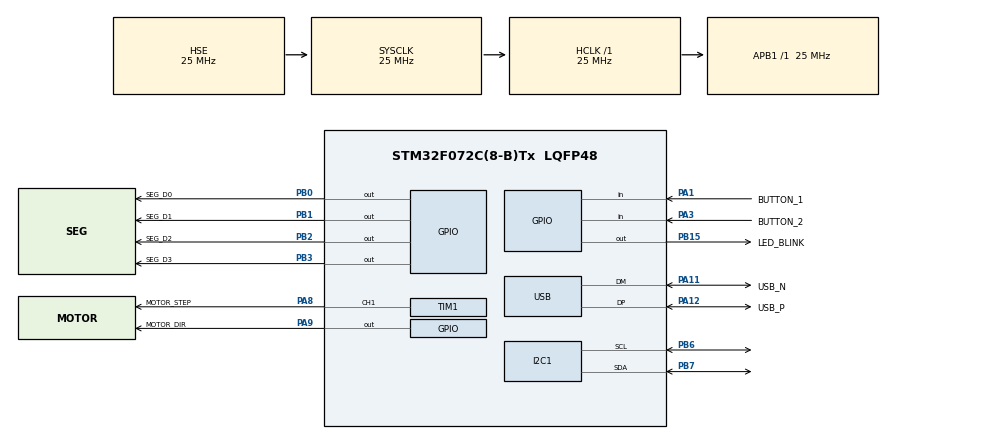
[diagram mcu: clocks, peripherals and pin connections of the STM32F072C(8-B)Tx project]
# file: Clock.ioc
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Dma.Request0=TIM1_CH1
Dma.TIM1_CH1.0.Direction=DMA_MEMORY_TO_PERIPH
Dma.TIM1_CH1.0.Instance=DMA1_Channel2
Dma.TIM1_CH1.0.MemDataAlignment=DMA_MDATAALIGN_HALFWORD
Dma.TIM1_CH1.0.MemInc=DMA_MINC_ENABLE
Dma.TIM1_CH1.0.Mode=DMA_NORMAL
Dma.TIM1_CH1.0.PeriphDataAlignment=DMA_PDATAALIGN_HALFWORD
Dma.TIM1_CH1.0.PeriphInc=DMA_PINC_DISABLE
Dma.TIM1_CH1.0.Priority=DMA_PRIORITY_LOW
Mcu.Family=STM32F0
Mcu.Name=STM32F072C(8-B)Tx
Mcu.Package=LQFP48
NVIC.DMA1_Channel2_3_IRQn=true\:0\:0\:false\:false\:true\:false\:true\:true
PA1.GPIO_Label=BUTTON_1
PA1.GPIO_PuPd=GPIO_PULLUP
PA1.Signal=GPIO_Input
PA11.GPIO_Label=USB_N
PA11.Mode=Device
PA11.Signal=USB_DM
PA12.GPIO_Label=USB_P
PA12.Mode=Device
PA12.Signal=USB_DP
PA13.Mode=Serial_Wire
PA13.Signal=SYS_SWDIO
PA14.Mode=Serial_Wire
PA14.Signal=SYS_SWCLK
PA3.GPIO_Label=BUTTON_2
PA3.GPIO_PuPd=GPIO_PULLUP
PA3.Signal=GPIO_Input
PA8.GPIO_Label=MOTOR_STEP
PA8.Signal=S_TIM1_CH1
PA9.GPIO_Label=MOTOR_DIR
PA9.Signal=GPIO_Output
PB0.GPIO_Label=SEG_D0
PB0.PinState=GPIO_PIN_SET
PB0.Signal=GPIO_Output
PB1.GPIO_Label=SEG_D1
PB1.PinState=GPIO_PIN_SET
PB1.Signal=GPIO_Output
PB15.GPIO_Label=LED_BLINK
PB15.GPIO_Speed=GPIO_SPEED_FREQ_MEDIUM
PB15.PinState=GPIO_PIN_SET
PB15.Signal=GPIO_Output
PB2.GPIO_Label=SEG_D2
PB2.PinState=GPIO_PIN_SET
PB2.Signal=GPIO_Output
PB3.GPIO_Label=SEG_D3
PB3.PinState=GPIO_PIN_SET
PB3.Signal=GPIO_Output
PB6.Mode=I2C
PB6.Signal=I2C1_SCL
PB7.Mode=I2C
PB7.Signal=I2C1_SDA
PF0-OSC_IN.Mode=HSE-External-Oscillator
PF0-OSC_IN.Signal=RCC_OSC_IN
PF1-OSC_OUT.Mode=HSE-External-Oscillator
PF1-OSC_OUT.Signal=RCC_OSC_OUT
ProjectManager.HeapSize=0x200
ProjectManager.StackSize=0x400
ProjectManager.TargetToolchain=STM32CubeIDE
RCC.AHBFreq_Value=25000000
RCC.APB1Freq_Value=25000000
RCC.APB1TimFreq_Value=25000000
RCC.HCLKFreq_Value=25000000
RCC.HSE_VALUE=25000000
RCC.PLLSourceVirtual=RCC_PLLSOURCE_HSE
RCC.SYSCLKFreq_VALUE=25000000
RCC.SYSCLKSource=RCC_SYSCLKSOURCE_HSE
SH.S_TIM1_CH1.0=TIM1_CH1,PWM Generation1 CH1
TIM1.Channel-PWM\ Generation1\ CH1=TIM_CHANNEL_1
TIM1.Period=100-1
TIM1.Prescaler=25-1
VP_TIM15_VS_ClockSourceINT.Mode=Internal
VP_TIM1_VS_ClockSourceINT.Mode=Internal
board=custom

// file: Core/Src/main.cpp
/* USER CODE BEGIN Header */
/**
  ******************************************************************************
  * @file           : main.c
  * @brief          : Main program body
  ******************************************************************************
  * @attention
  *
  * Copyright (c) 2023 STMicroelectronics.
  * All rights reserved.
  *
  * This software is licensed under terms that can be found in the LICENSE file
  * in the root directory of this software component.
  * If no LICENSE file comes with this software, it is provided AS-IS.
  *
  ******************************************************************************
  */
/* USER CODE END Header */
#include "main.h"

/* USER CODE BEGIN Includes */
#include "PCF85363A.h"
/* USER CODE END Includes */

I2C_HandleTypeDef hi2c1;

TIM_HandleTypeDef htim1;
TIM_HandleTypeDef htim15;
DMA_HandleTypeDef hdma_tim1_ch1;

PCD_HandleTypeDef hpcd_USB_FS;

void SystemClock_Config(void);
static void MX_GPIO_Init(void);
static void MX_DMA_Init(void);
static void MX_USB_PCD_Init(void);
static void MX_I2C1_Init(void);
static void MX_TIM15_Init(void);
static void MX_TIM1_Init(void);

/* USER CODE BEGIN 0 */
void writeSegmentNumber(int number){

	switch(number%10){
		case 0:
			HAL_GPIO_WritePin(GPIOB, SEG_D0_Pin, GPIO_PIN_RESET);
			HAL_GPIO_WritePin(GPIOB, SEG_D1_Pin, GPIO_PIN_RESET);
			HAL_GPIO_WritePin(GPIOB, SEG_D2_Pin, GPIO_PIN_RESET);
			HAL_GPIO_WritePin(GPIOB, SEG_D3_Pin, GPIO_PIN_RESET);
			break;
		case 1:
			HAL_GPIO_WritePin(GPIOB, SEG_D0_Pin, GPIO_PIN_SET);
			HAL_GPIO_WritePin(GPIOB, SEG_D1_Pin, GPIO_PIN_RESET);
			HAL_GPIO_WritePin(GPIOB, SEG_D2_Pin, GPIO_PIN_RESET);
			HAL_GPIO_WritePin(GPIOB, SEG_D3_Pin, GPIO_PIN_RESET);
			break;
		case 2:
			HAL_GPIO_WritePin(GPIOB, SEG_D0_Pin, GPIO_PIN_RESET);
			HAL_GPIO_WritePin(GPIOB, SEG_D1_Pin, GPIO_PIN_SET);
			HAL_GPIO_WritePin(GPIOB, SEG_D2_Pin, GPIO_PIN_RESET);
			HAL_GPIO_WritePin(GPIOB, SEG_D3_Pin, GPIO_PIN_RESET);
			break;
		case 3:
			HAL_GPIO_WritePin(GPIOB, SEG_D0_Pin, GPIO_PIN_SET);
			HAL_GPIO_WritePin(GPIOB, SEG_D1_Pin, GPIO_PIN_SET);
			HAL_GPIO_WritePin(GPIOB, SEG_D2_Pin, GPIO_PIN_RESET);
			HAL_GPIO_WritePin(GPIOB, SEG_D3_Pin, GPIO_PIN_RESET);
			break;
		case 4:
			HAL_GPIO_WritePin(GPIOB, SEG_D0_Pin, GPIO_PIN_RESET);
			HAL_GPIO_WritePin(GPIOB, SEG_D1_Pin, GPIO_PIN_RESET);
			HAL_GPIO_WritePin(GPIOB, SEG_D2_Pin, GPIO_PIN_SET);
			HAL_GPIO_WritePin(GPIOB, SEG_D3_Pin, GPIO_PIN_RESET);
			break;
		case 5:
			HAL_GPIO_WritePin(GPIOB, SEG_D0_Pin, GPIO_PIN_SET);
			HAL_GPIO_WritePin(GPIOB, SEG_D1_Pin, GPIO_PIN_RESET);
			HAL_GPIO_WritePin(GPIOB, SEG_D2_Pin, GPIO_PIN_SET);
			HAL_GPIO_WritePin(GPIOB, SEG_D3_Pin, GPIO_PIN_RESET);
			break;
		case 6:
			HAL_GPIO_WritePin(GPIOB, SEG_D0_Pin, GPIO_PIN_RESET);
			HAL_GPIO_WritePin(GPIOB, SEG_D1_Pin, GPIO_PIN_SET);
			HAL_GPIO_WritePin(GPIOB, SEG_D2_Pin, GPIO_PIN_SET);
			HAL_GPIO_WritePin(GPIOB, SEG_D3_Pin, GPIO_PIN_RESET);
			break;
		case 7:
			HAL_GPIO_WritePin(GPIOB, SEG_D0_Pin, GPIO_PIN_SET);
			HAL_GPIO_WritePin(GPIOB, SEG_D1_Pin, GPIO_PIN_SET);
			HAL_GPIO_WritePin(GPIOB, SEG_D2_Pin, GPIO_PIN_SET);
			HAL_GPIO_WritePin(GPIOB, SEG_D3_Pin, GPIO_PIN_RESET);
			break;
		case 8:
			HAL_GPIO_WritePin(GPIOB, SEG_D0_Pin, GPIO_PIN_RESET);
			HAL_GPIO_WritePin(GPIOB, SEG_D1_Pin, GPIO_PIN_RESET);
			HAL_GPIO_WritePin(GPIOB, SEG_D2_Pin, GPIO_PIN_RESET);
			HAL_GPIO_WritePin(GPIOB, SEG_D3_Pin, GPIO_PIN_SET);
			break;
		case 9:
			HAL_GPIO_WritePin(GPIOB, SEG_D0_Pin, GPIO_PIN_SET);
			HAL_GPIO_WritePin(GPIOB, SEG_D1_Pin, GPIO_PIN_RESET);
			HAL_GPIO_WritePin(GPIOB, SEG_D2_Pin, GPIO_PIN_RESET);
			HAL_GPIO_WritePin(GPIOB, SEG_D3_Pin, GPIO_PIN_SET);
			break;
		default:
			HAL_GPIO_WritePin(GPIOB, SEG_D0_Pin, GPIO_PIN_SET);
			HAL_GPIO_WritePin(GPIOB, SEG_D1_Pin, GPIO_PIN_SET);
			HAL_GPIO_WritePin(GPIOB, SEG_D2_Pin, GPIO_PIN_SET);
			HAL_GPIO_WritePin(GPIOB, SEG_D3_Pin, GPIO_PIN_SET);
			break;

	}

}

/* USER CODE END 0 */

int main(void)
{

  /* MCU Configuration--------------------------------------------------------*/

  /* Reset of all peripherals, Initializes the Flash interface and the Systick. */
  HAL_Init();

  /* Configure the system clock */
  SystemClock_Config();

  /* Initialize all configured peripherals */
  MX_GPIO_Init();
  MX_DMA_Init();
  MX_USB_PCD_Init();
  MX_I2C1_Init();
  MX_TIM15_Init();
  MX_TIM1_Init();

  /* Infinite loop */
  /* USER CODE BEGIN WHILE */

  PCF85363A myRTC(hi2c1);
  int seconds = 0;

  int num = 0;

  while (1)
  {

	  seconds = myRTC.GetSeconds();
	  HAL_GPIO_TogglePin(LED_BLINK_GPIO_Port, LED_BLINK_Pin);
	  writeSegmentNumber(seconds % 10);
	  num++;
	  HAL_Delay(50);

    /* USER CODE END WHILE */

  }
}

void SystemClock_Config(void)
{
  RCC_OscInitTypeDef RCC_OscInitStruct = {0};
  RCC_ClkInitTypeDef RCC_ClkInitStruct = {0};
  RCC_PeriphCLKInitTypeDef PeriphClkInit = {0};

  /** Initializes the RCC Oscillators according to the specified parameters
  * in the RCC_OscInitTypeDef structure.
  */
  RCC_OscInitStruct.OscillatorType = RCC_OSCILLATORTYPE_HSI|RCC_OSCILLATORTYPE_HSI48
                              |RCC_OSCILLATORTYPE_HSE;
  RCC_OscInitStruct.HSEState = RCC_HSE_ON;
  RCC_OscInitStruct.HSIState = RCC_HSI_ON;
  RCC_OscInitStruct.HSI48State = RCC_HSI48_ON;
  RCC_OscInitStruct.HSICalibrationValue = RCC_HSICALIBRATION_DEFAULT;
  RCC_OscInitStruct.PLL.PLLState = RCC_PLL_NONE;
  if (HAL_RCC_OscConfig(&RCC_OscInitStruct) != HAL_OK)
  {
    Error_Handler();
  }

  /** Initializes the CPU, AHB and APB buses clocks
  */
  RCC_ClkInitStruct.ClockType = RCC_CLOCKTYPE_HCLK|RCC_CLOCKTYPE_SYSCLK
                              |RCC_CLOCKTYPE_PCLK1;
  RCC_ClkInitStruct.SYSCLKSource = RCC_SYSCLKSOURCE_HSE;
  RCC_ClkInitStruct.AHBCLKDivider = RCC_SYSCLK_DIV1;
  RCC_ClkInitStruct.APB1CLKDivider = RCC_HCLK_DIV1;

  if (HAL_RCC_ClockConfig(&RCC_ClkInitStruct, FLASH_LATENCY_1) != HAL_OK)
  {
    Error_Handler();
  }
  PeriphClkInit.PeriphClockSelection = RCC_PERIPHCLK_USB|RCC_PERIPHCLK_I2C1;
  PeriphClkInit.I2c1ClockSelection = RCC_I2C1CLKSOURCE_HSI;
  PeriphClkInit.UsbClockSelection = RCC_USBCLKSOURCE_HSI48;

  if (HAL_RCCEx_PeriphCLKConfig(&PeriphClkInit) != HAL_OK)
  {
    Error_Handler();
  }
}

static void MX_I2C1_Init(void)
{

  hi2c1.Instance = I2C1;
  hi2c1.Init.Timing = 0x2000090E;
  hi2c1.Init.OwnAddress1 = 0;
  hi2c1.Init.AddressingMode = I2C_ADDRESSINGMODE_7BIT;
  hi2c1.Init.DualAddressMode = I2C_DUALADDRESS_DISABLE;
  hi2c1.Init.OwnAddress2 = 0;
  hi2c1.Init.OwnAddress2Masks = I2C_OA2_NOMASK;
  hi2c1.Init.GeneralCallMode = I2C_GENERALCALL_DISABLE;
  hi2c1.Init.NoStretchMode = I2C_NOSTRETCH_DISABLE;
  if (HAL_I2C_Init(&hi2c1) != HAL_OK)
  {
    Error_Handler();
  }

  /** Configure Analogue filter
  */
  if (HAL_I2CEx_ConfigAnalogFilter(&hi2c1, I2C_ANALOGFILTER_ENABLE) != HAL_OK)
  {
    Error_Handler();
  }

  /** Configure Digital filter
  */
  if (HAL_I2CEx_ConfigDigitalFilter(&hi2c1, 0) != HAL_OK)
  {
    Error_Handler();
  }

}

static void MX_TIM1_Init(void)
{

  TIM_ClockConfigTypeDef sClockSourceConfig = {0};
  TIM_MasterConfigTypeDef sMasterConfig = {0};
  TIM_OC_InitTypeDef sConfigOC = {0};
  TIM_BreakDeadTimeConfigTypeDef sBreakDeadTimeConfig = {0};

  htim1.Instance = TIM1;
  htim1.Init.Prescaler = 25-1;
  htim1.Init.CounterMode = TIM_COUNTERMODE_UP;
  htim1.Init.Period = 100-1;
  htim1.Init.ClockDivision = TIM_CLOCKDIVISION_DIV1;
  htim1.Init.RepetitionCounter = 0;
  htim1.Init.AutoReloadPreload = TIM_AUTORELOAD_PRELOAD_DISABLE;
  if (HAL_TIM_Base_Init(&htim1) != HAL_OK)
  {
    Error_Handler();
  }
  sClockSourceConfig.ClockSource = TIM_CLOCKSOURCE_INTERNAL;
  if (HAL_TIM_ConfigClockSource(&htim1, &sClockSourceConfig) != HAL_OK)
  {
    Error_Handler();
  }
  if (HAL_TIM_PWM_Init(&htim1) != HAL_OK)
  {
    Error_Handler();
  }
  sMasterConfig.MasterOutputTrigger = TIM_TRGO_RESET;
  sMasterConfig.MasterSlaveMode = TIM_MASTERSLAVEMODE_DISABLE;
  if (HAL_TIMEx_MasterConfigSynchronization(&htim1, &sMasterConfig) != HAL_OK)
  {
    Error_Handler();
  }
  sConfigOC.OCMode = TIM_OCMODE_PWM1;
  sConfigOC.Pulse = 0;
  sConfigOC.OCPolarity = TIM_OCPOLARITY_HIGH;
  sConfigOC.OCNPolarity = TIM_OCNPOLARITY_HIGH;
  sConfigOC.OCFastMode = TIM_OCFAST_DISABLE;
  sConfigOC.OCIdleState = TIM_OCIDLESTATE_RESET;
  sConfigOC.OCNIdleState = TIM_OCNIDLESTATE_RESET;
  if (HAL_TIM_PWM_ConfigChannel(&htim1, &sConfigOC, TIM_CHANNEL_1) != HAL_OK)
  {
    Error_Handler();
  }
  sBreakDeadTimeConfig.OffStateRunMode = TIM_OSSR_DISABLE;
  sBreakDeadTimeConfig.OffStateIDLEMode = TIM_OSSI_DISABLE;
  sBreakDeadTimeConfig.LockLevel = TIM_LOCKLEVEL_OFF;
  sBreakDeadTimeConfig.DeadTime = 0;
  sBreakDeadTimeConfig.BreakState = TIM_BREAK_DISABLE;
  sBreakDeadTimeConfig.BreakPolarity = TIM_BREAKPOLARITY_HIGH;
  sBreakDeadTimeConfig.AutomaticOutput = TIM_AUTOMATICOUTPUT_DISABLE;
  if (HAL_TIMEx_ConfigBreakDeadTime(&htim1, &sBreakDeadTimeConfig) != HAL_OK)
  {
    Error_Handler();
  }
  HAL_TIM_MspPostInit(&htim1);

}

static void MX_TIM15_Init(void)
{

  TIM_ClockConfigTypeDef sClockSourceConfig = {0};
  TIM_MasterConfigTypeDef sMasterConfig = {0};

  htim15.Instance = TIM15;
  htim15.Init.Prescaler = 0;
  htim15.Init.CounterMode = TIM_COUNTERMODE_UP;
  htim15.Init.Period = 65535;
  htim15.Init.ClockDivision = TIM_CLOCKDIVISION_DIV1;
  htim15.Init.RepetitionCounter = 0;
  htim15.Init.AutoReloadPreload = TIM_AUTORELOAD_PRELOAD_DISABLE;
  if (HAL_TIM_Base_Init(&htim15) != HAL_OK)
  {
    Error_Handler();
  }
  sClockSourceConfig.ClockSource = TIM_CLOCKSOURCE_INTERNAL;
  if (HAL_TIM_ConfigClockSource(&htim15, &sClockSourceConfig) != HAL_OK)
  {
    Error_Handler();
  }
  sMasterConfig.MasterOutputTrigger = TIM_TRGO_RESET;
  sMasterConfig.MasterSlaveMode = TIM_MASTERSLAVEMODE_DISABLE;
  if (HAL_TIMEx_MasterConfigSynchronization(&htim15, &sMasterConfig) != HAL_OK)
  {
    Error_Handler();
  }

}

static void MX_USB_PCD_Init(void)
{

  hpcd_USB_FS.Instance = USB;
  hpcd_USB_FS.Init.dev_endpoints = 8;
  hpcd_USB_FS.Init.speed = PCD_SPEED_FULL;
  hpcd_USB_FS.Init.phy_itface = PCD_PHY_EMBEDDED;
  hpcd_USB_FS.Init.low_power_enable = DISABLE;
  hpcd_USB_FS.Init.lpm_enable = DISABLE;
  hpcd_USB_FS.Init.battery_charging_enable = DISABLE;
  if (HAL_PCD_Init(&hpcd_USB_FS) != HAL_OK)
  {
    Error_Handler();
  }

}

static void MX_DMA_Init(void)
{

  /* DMA controller clock enable */
  __HAL_RCC_DMA1_CLK_ENABLE();

  /* DMA interrupt init */
  /* DMA1_Channel2_3_IRQn interrupt configuration */
  HAL_NVIC_SetPriority(DMA1_Channel2_3_IRQn, 0, 0);
  HAL_NVIC_EnableIRQ(DMA1_Channel2_3_IRQn);

}

static void MX_GPIO_Init(void)
{
  GPIO_InitTypeDef GPIO_InitStruct = {0};

  /* GPIO Ports Clock Enable */
  __HAL_RCC_GPIOF_CLK_ENABLE();
  __HAL_RCC_GPIOA_CLK_ENABLE();
  __HAL_RCC_GPIOB_CLK_ENABLE();

  /*Configure GPIO pin Output Level */
  HAL_GPIO_WritePin(GPIOB, SEG_D0_Pin|SEG_D1_Pin|SEG_D2_Pin|LED_BLINK_Pin
                          |SEG_D3_Pin, GPIO_PIN_SET);

  /*Configure GPIO pin Output Level */
  HAL_GPIO_WritePin(MOTOR_DIR_GPIO_Port, MOTOR_DIR_Pin, GPIO_PIN_RESET);

  /*Configure GPIO pins : BUTTON_1_Pin BUTTON_2_Pin */
  GPIO_InitStruct.Pin = BUTTON_1_Pin|BUTTON_2_Pin;
  GPIO_InitStruct.Mode = GPIO_MODE_INPUT;
  GPIO_InitStruct.Pull = GPIO_PULLUP;
  HAL_GPIO_Init(GPIOA, &GPIO_InitStruct);

  /*Configure GPIO pins : SEG_D0_Pin SEG_D1_Pin SEG_D2_Pin SEG_D3_Pin */
  GPIO_InitStruct.Pin = SEG_D0_Pin|SEG_D1_Pin|SEG_D2_Pin|SEG_D3_Pin;
  GPIO_InitStruct.Mode = GPIO_MODE_OUTPUT_PP;
  GPIO_InitStruct.Pull = GPIO_NOPULL;
  GPIO_InitStruct.Speed = GPIO_SPEED_FREQ_LOW;
  HAL_GPIO_Init(GPIOB, &GPIO_InitStruct);

  /*Configure GPIO pin : LED_BLINK_Pin */
  GPIO_InitStruct.Pin = LED_BLINK_Pin;
  GPIO_InitStruct.Mode = GPIO_MODE_OUTPUT_PP;
  GPIO_InitStruct.Pull = GPIO_NOPULL;
  GPIO_InitStruct.Speed = GPIO_SPEED_FREQ_MEDIUM;
  HAL_GPIO_Init(LED_BLINK_GPIO_Port, &GPIO_InitStruct);

  /*Configure GPIO pin : MOTOR_DIR_Pin */
  GPIO_InitStruct.Pin = MOTOR_DIR_Pin;
  GPIO_InitStruct.Mode = GPIO_MODE_OUTPUT_PP;
  GPIO_InitStruct.Pull = GPIO_NOPULL;
  GPIO_InitStruct.Speed = GPIO_SPEED_FREQ_LOW;
  HAL_GPIO_Init(MOTOR_DIR_GPIO_Port, &GPIO_InitStruct);

}

void Error_Handler(void)
{
  __disable_irq();
  while (1)
  {
  }
}
